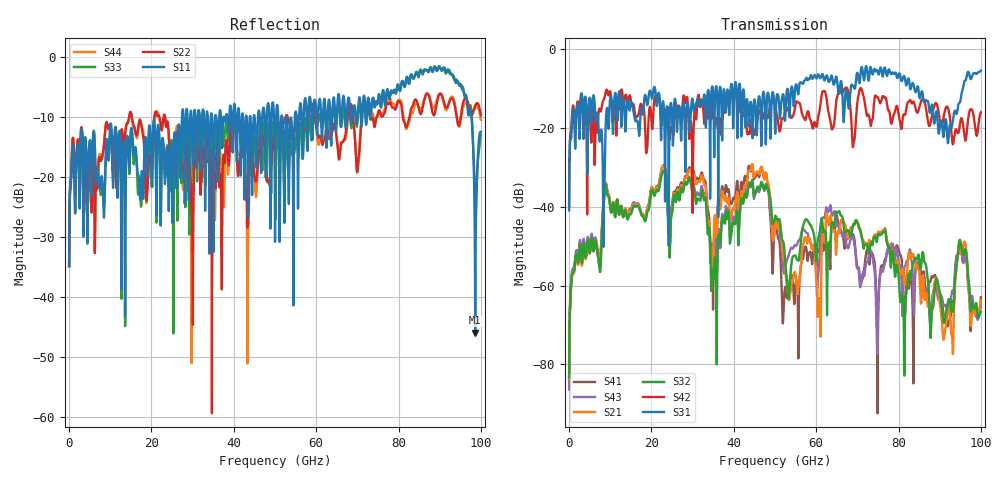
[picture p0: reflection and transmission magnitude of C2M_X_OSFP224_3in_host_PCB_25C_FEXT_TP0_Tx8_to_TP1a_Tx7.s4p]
# GHz S RI R 45
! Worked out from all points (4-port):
!   4000 points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, 25 MHz to 100 GHz, reference 45 ohm
!   strongest paths, dB at 25 MHz, 25.02 GHz, 50.02 GHz, 75.03 GHz, 100 GHz:
!     S31: -40.9, -17.0, -20.4, -5.9, -5.4
!     S42: -40.1, -20.6, -13.9, -12.3, -15.9
!     S32: -83.4, -41.6, -43.0, -47.0, -66.6
!     S21: -83.8, -41.1, -44.0, -46.4, -63.6
!     S43: -86.4, -39.6, -44.8, -66.8, -65.5
!     S41: -84.3, -39.1, -42.5, -70.8, -62.9
!   lowest |S11| = -45.9 dB at 98.62 GHz (marker M1), VSWR 1.01, Z = 45.4 - j0.0933 ohm
!   |S11| at or under -10 dB: start of sweep to 27.43 GHz; 52.82 GHz to 54.84 GHz (2.02 GHz wide, 3.75 % of centre); 97.74 GHz to end of sweep (the widest 3 of 44)
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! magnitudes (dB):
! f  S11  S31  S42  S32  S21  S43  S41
! 25 MHz  -34.8  -40.9  -40.1  -83.4  -83.8  -86.4  -84.3
! 8.925 GHz  -16.1  -18.6  -10.7  -34.5  -34.0  -34.0  -33.8
! 22.98 GHz  -15.0  -14.1  -15.1  -30.9  -29.7  -30.8  -29.4
! 35.48 GHz  -10.0  -12.1  -19.0  -53.0  -42.1  -45.8  -48.0
! 90.85 GHz  -1.8  -22.1  -17.8  -68.9  -73.3  -64.7  -66.6
! 98.62 GHz  -45.9  -6.1  -20.0  -65.7  -67.2  -66.5  -66.9
! 100 GHz  -12.4  -5.4  -15.9  -66.6  -63.6  -65.5  -62.9
